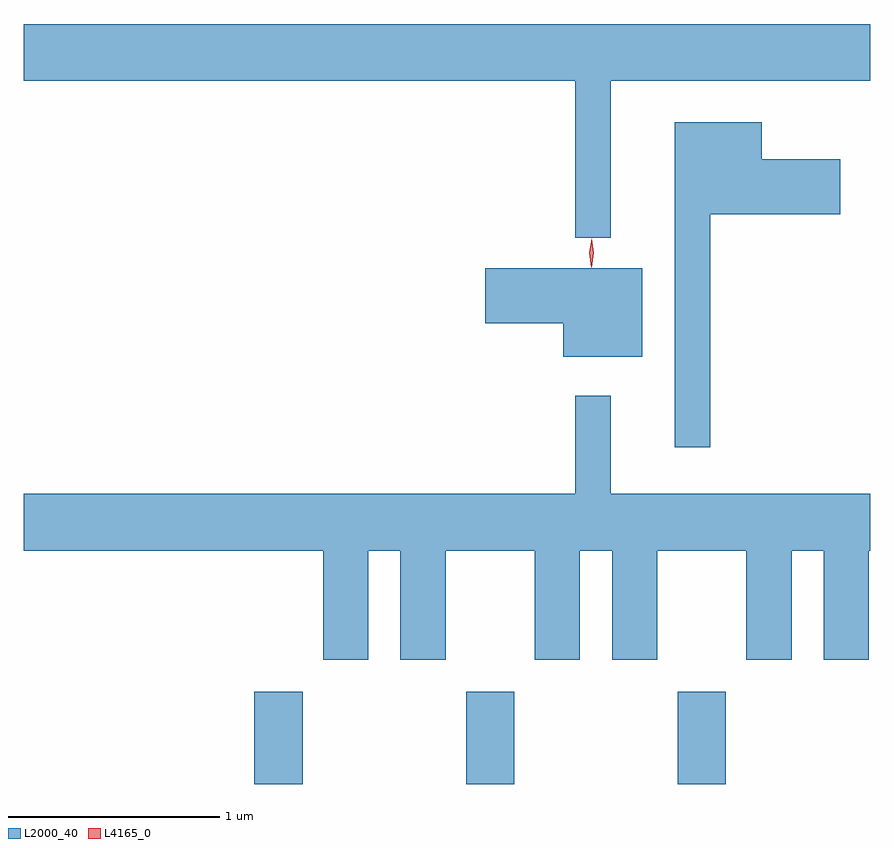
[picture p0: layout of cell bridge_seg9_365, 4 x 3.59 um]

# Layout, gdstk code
import gdstk
lib = gdstk.Library(unit=1e-6, precision=1e-09)
def R(c, l, rs):  # rectangles x0, y0, x1, y1
    for r in rs: c.add(gdstk.rectangle(r[:2], r[2:], *l))
def A(c, l, x, y, w, h, nx, ny, dx, dy):  # array of equal rectangles
    R(c, l, [(x+i*dx, y+j*dy, x+i*dx+w, y+j*dy+h) for i in range(nx) for j in range(ny)])
def P(c, l, *ps):  # polygons
    for p in ps: c.add(gdstk.Polygon(p, *l))
L2000_40 = (2000, 40)
L4165_0 = (4165, 0)

bridge_seg9_365 = lib.new_cell('bridge_seg9_365')
A(bridge_seg9_365, L2000_40, 984.546, 2008.473, 0.228, 0.436, 3, 1, 1, 0)
P(bridge_seg9_365, L2000_40, [(986.229,2011.796),(987.456,2011.796),(987.456,2012.064),(983.456,2012.064),(983.456,2011.796),(986.061,2011.796),(986.061,2011.053),(986.229,2011.053)],
  [(986.699,2011.166),(987.314,2011.166),(987.314,2011.424),(986.944,2011.424),(986.944,2011.599),(986.531,2011.599),(986.531,2010.063),(986.699,2010.063)],
  [(986.379,2010.909),(985.636,2010.909),(985.636,2010.651),(986.006,2010.651),(986.006,2010.491),(986.379,2010.491)],
  [(985.084,2009.576),(985.236,2009.576),(985.236,2009.061),(985.449,2009.061),(985.449,2009.576),(985.871,2009.576),(985.871,2009.061),(986.084,2009.061),(986.084,2009.576),(986.236,2009.576),(986.236,2009.061),(986.449,2009.061),(986.449,2009.576),(986.871,2009.576),(986.871,2009.061),(987.084,2009.061),(987.084,2009.576),(987.236,2009.576),(987.236,2009.061),(987.449,2009.061),(987.449,2009.576),(987.456,2009.576),(987.456,2009.844),(986.229,2009.844),(986.229,2010.308),(986.061,2010.308),(986.061,2009.844),(983.456,2009.844),(983.456,2009.576),(984.871,2009.576),(984.871,2009.061),(985.084,2009.061)])
P(bridge_seg9_365, L4165_0, [(986.138,2010.92),(986.138,2010.921),(986.129,2010.984),(986.14,2011.046),(986.14,2011.047),(986.141,2011.046),(986.149,2010.983),(986.139,2010.921)],
  [(986.138,2010.914),(986.138,2010.914),(986.129,2010.982),(986.14,2011.05),(986.14,2011.05),(986.141,2011.05),(986.149,2010.982),(986.139,2010.914)])

lib.write_gds('bridge_seg9_365.gds')
